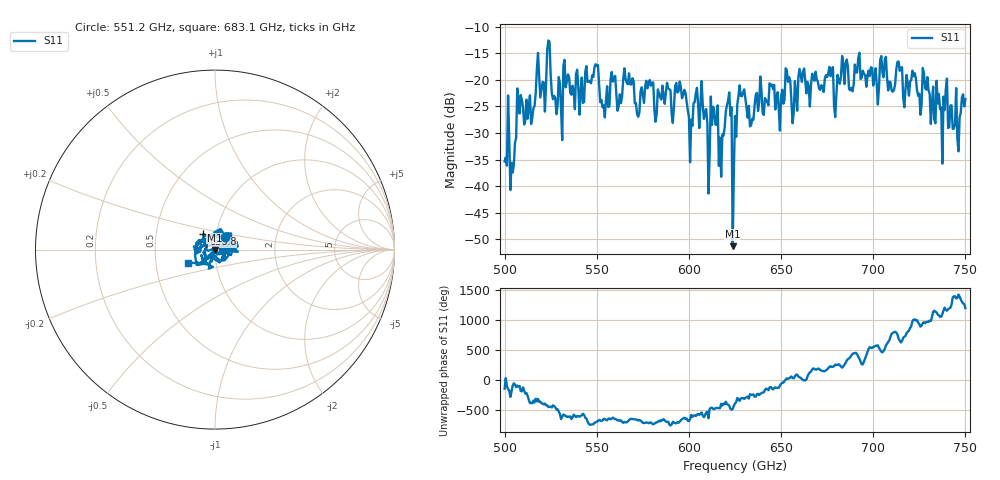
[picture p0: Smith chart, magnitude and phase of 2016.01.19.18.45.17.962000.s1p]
!Created with skrf (http://scikit-rf.org).
# GHz S RI R 50.0
!freq ReS11 ImS11
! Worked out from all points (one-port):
!   401 points, 500 GHz to 750 GHz, reference 50 ohm
!   lowest |S11| = -51.3 dB at 623.8 GHz (marker M1), VSWR 1.01, Z = 49.8 - j0.223 ohm
!   |S11| at or under -10 dB: start of sweep to end of sweep
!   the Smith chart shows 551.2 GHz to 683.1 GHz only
!   S11 on the Smith chart (normalised r, x): 551.2 GHz: 1.10, +0.16; 638.8 GHz: 0.87, +0.15; 683.1 GHz: 0.73, -0.11
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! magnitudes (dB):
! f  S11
! 500 GHz  -35.3
! 504.4 GHz  -37.4
! 508.1 GHz  -26.3
! 515.6 GHz  -25.4
! 523.8 GHz  -12.6
! 526.9 GHz  -23.0
! 531.2 GHz  -31.3
! 551.2 GHz  -20.8
! 562.5 GHz  -22.7
! 593.8 GHz  -22.4
! 600.6 GHz  -35.5
! 603.8 GHz  -22.5
! 610 GHz  -28.2
! 614.4 GHz  -28.4
! 617.5 GHz  -38.2
! 621.9 GHz  -22.4
! 623.8 GHz  -51.3
! 625 GHz  -26.8
! 627.5 GHz  -21.0
! 638.8 GHz  -19.4
! 650 GHz  -23.2
! 653.8 GHz  -20.4
! 656.2 GHz  -28.2
! 683.1 GHz  -15.5
! 687.5 GHz  -22.0
! 718.8 GHz  -20.9
! 745 GHz  -21.6
! 750 GHz  -23.6
